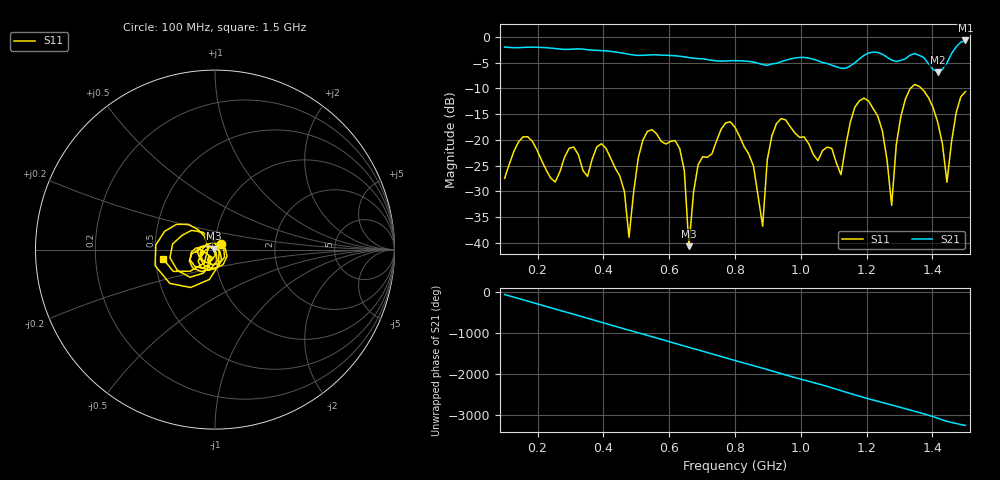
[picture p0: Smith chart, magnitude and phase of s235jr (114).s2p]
! NanoVNA-App
! Date: 2025-09-25 15:05:03
! Start: 100MHz Stop: 1,5GHz Points: 101
! S-Parameter data: F S11 S21 S12 S22
# Hz S RI R 50
!  Frequency  S11_Real  S11_Imag  S21_Real  S21_Imag  S12_Real  S12_Imag  S22_Real  S22_Imag
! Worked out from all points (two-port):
!   101 points, 100 MHz to 1.5 GHz, reference 50 ohm
!   highest |S21| = -0.68 dB at 1.5 GHz (marker M1); lowest = -6.8 dB at 1.416 GHz (marker M2)
!   |S21| within 3 dB of the highest: start of sweep to 621.8 MHz; 1.19 GHz to 1.256 GHz (65.93 MHz wide, 5.39 % of centre) (the widest 2 of 4)
!   lowest |S11| = -40.7 dB at 660 MHz (marker M3), VSWR 1.02, Z = 49.3 + j0.544 ohm
!   |S11| at or under -10 dB: start of sweep to 1.333 GHz; 1.366 GHz to end of sweep
!   S12 and S22 are empty: the file has one direction only
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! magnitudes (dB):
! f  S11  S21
! 100 MHz  -27.5  -2.0
! 156 MHz  -19.4  -2.0
! 338 MHz  -25.9  -2.4
! 408 MHz  -21.6  -2.7
! 478 MHz  -38.9  -3.4
! 520 MHz  -20.1  -3.6
! 576 MHz  -20.3  -3.5
! 632 MHz  -21.7  -3.7
! 660 MHz  -40.7  -4.0
! 688 MHz  -24.8  -4.2
! 800 MHz  -17.6  -4.6
! 884 MHz  -36.8  -5.4
! 926 MHz  -16.8  -5.1
! 1.038 GHz  -22.9  -4.3
! 1.122 GHz  -26.8  -6.1
! 1.192 GHz  -11.9  -3.6
! 1.248 GHz  -18.3  -3.4
! 1.276 GHz  -32.7  -4.5
! 1.332 GHz  -10.0  -3.5
! 1.416 GHz  -16.6  -6.8
! 1.444 GHz  -28.2  -5.1
! 1.5 GHz  -10.6  -0.7
